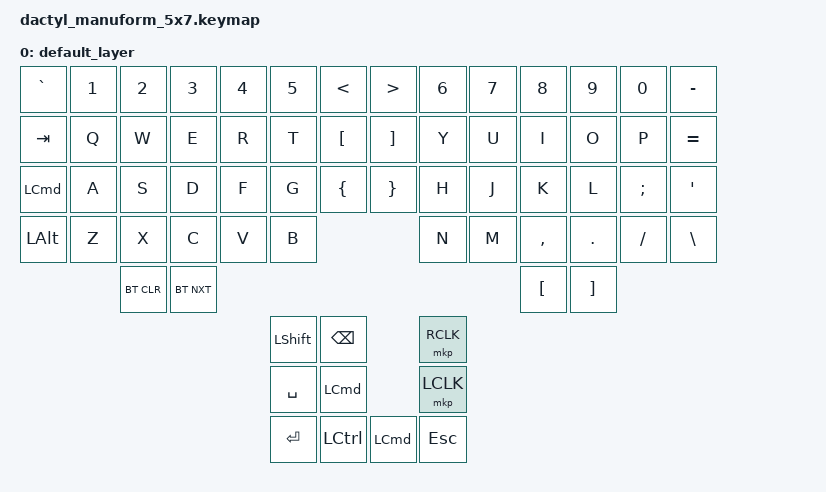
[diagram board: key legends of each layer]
#include <behaviors.dtsi>
#include <dt-bindings/zmk/keys.h>
#include <dt-bindings/zmk/mouse.h>
#include <dt-bindings/zmk/bt.h>
#include <dt-bindings/zmk/ext_power.h>
#include <dt-bindings/zmk/outputs.h>

#include "mouse.dtsi"

#define DEFAULT 0

/ {
    keymap {
        compatible = "zmk,keymap";

        default_layer {
            bindings = <
              &kp GRAVE       &kp NUMBER_1  &kp NUMBER_2  &kp NUMBER_3  &kp NUMBER_4  &kp NUMBER_5  &kp LESS_THAN             &kp GREATER_THAN   &kp NUMBER_6  &kp NUMBER_7  &kp NUMBER_8  &kp NUMBER_9  &kp NUMBER_0   &kp MINUS
              &kp TAB         &kp Q         &kp W         &kp E         &kp R         &kp T         &kp LEFT_BRACKET          &kp RIGHT_BRACKET  &kp Y         &kp U         &kp I         &kp O         &kp P          &kp EQUAL
              &kp LCMD        &kp A         &kp S         &kp D         &kp F         &kp G         &kp LEFT_BRACE            &kp RIGHT_BRACE    &kp H         &kp J         &kp K         &kp L         &kp SEMICOLON  &kp SINGLE_QUOTE
              &kp LALT        &kp Z         &kp X         &kp C         &kp V         &kp B                                                      &kp N         &kp M         &kp COMMA     &kp PERIOD    &kp SLASH      &kp BACKSLASH
                                            &bt BT_CLR    &bt BT_NXT                                                                                                           &kp LBKT      &kp RBKT

                                                                                         &kp LEFT_SHIFT  &kp BACKSPACE                     &mkp RCLK
                                                                                           &kp SPACE     &kp LCMD                        &mkp LCLK
                                                                                           &kp ENTER     &kp LCTL             &kp LCMD  &kp ESCAPE
            >;
        };
    };
};
